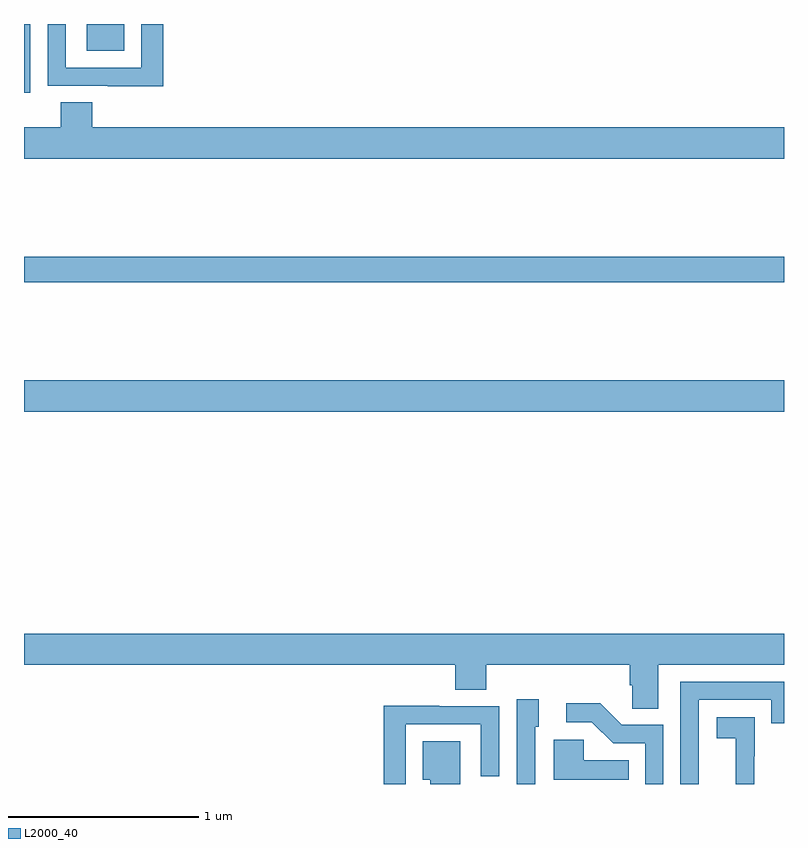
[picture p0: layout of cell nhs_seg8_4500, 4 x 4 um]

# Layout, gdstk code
import gdstk
lib = gdstk.Library(unit=1e-6, precision=1e-09)
def R(c, l, rs):  # rectangles x0, y0, x1, y1
    for r in rs: c.add(gdstk.rectangle(r[:2], r[2:], *l))
def P(c, l, *ps):  # polygons
    for p in ps: c.add(gdstk.Polygon(p, *l))
L2000_40 = (2000, 40)

nhs_seg8_4500 = lib.new_cell('nhs_seg8_4500')
R(nhs_seg8_4500, L2000_40, [(385,1089.86,389,1090.024), (385,1090.54,389,1090.676), (385,1091.538,385.032,1091.9), (385.331,1091.759,385.528,1091.9)])
P(nhs_seg8_4500, L2000_40, [(385.733,1091.9),(385.617,1091.9),(385.617,1091.67),(385.221,1091.67),(385.221,1091.9),(385.125,1091.9),(385.125,1091.574),(385.441,1091.574),(385.441,1091.573),(385.733,1091.573)],
  [(389,1091.356),(385.358,1091.356),(385.358,1091.489),(385.193,1091.489),(385.193,1091.356),(385,1091.356),(385,1091.192),(389,1091.192)],
  [(388.339,1088.528),(389,1088.528),(389,1088.692),(385,1088.692),(385,1088.528),(387.269,1088.528),(387.269,1088.395),(387.434,1088.395),(387.434,1088.528),(388.187,1088.528),(388.187,1088.419),(388.2,1088.419),(388.2,1088.296),(388.339,1088.296)],
  [(388.551,1088.343),(388.932,1088.343),(388.932,1088.22),(389,1088.22),(389,1088.439),(388.455,1088.439),(388.455,1087.9),(388.551,1087.9)],
  [(387.69,1088.202),(387.709,1088.202),(387.709,1088.347),(387.594,1088.347),(387.594,1087.9),(387.69,1087.9)],
  [(388.365,1088.211),(388.146,1088.211),(388.033,1088.324),(387.855,1088.324),(387.855,1088.226),(387.989,1088.226),(388.1,1088.115),(388.269,1088.115),(388.269,1087.9),(388.365,1087.9)],
  [(387.009,1088.214),(387.405,1088.214),(387.405,1087.941),(387.501,1087.941),(387.501,1088.31),(387.185,1088.31),(387.185,1088.312),(386.893,1088.312),(386.893,1087.9),(387.009,1087.9)],
  [(388.844,1088.045),(388.845,1088.045),(388.845,1088.251),(388.647,1088.251),(388.647,1088.141),(388.745,1088.141),(388.745,1087.913),(388.746,1087.913),(388.746,1087.9),(388.844,1087.9)],
  [(388.184,1088.026),(387.945,1088.026),(387.945,1088.134),(387.788,1088.134),(387.788,1087.922),(388.184,1087.922)],
  [(387.295,1088.125),(387.098,1088.125),(387.098,1087.922),(387.137,1087.922),(387.137,1087.9),(387.295,1087.9)])

lib.write_gds('nhs_seg8_4500.gds')
